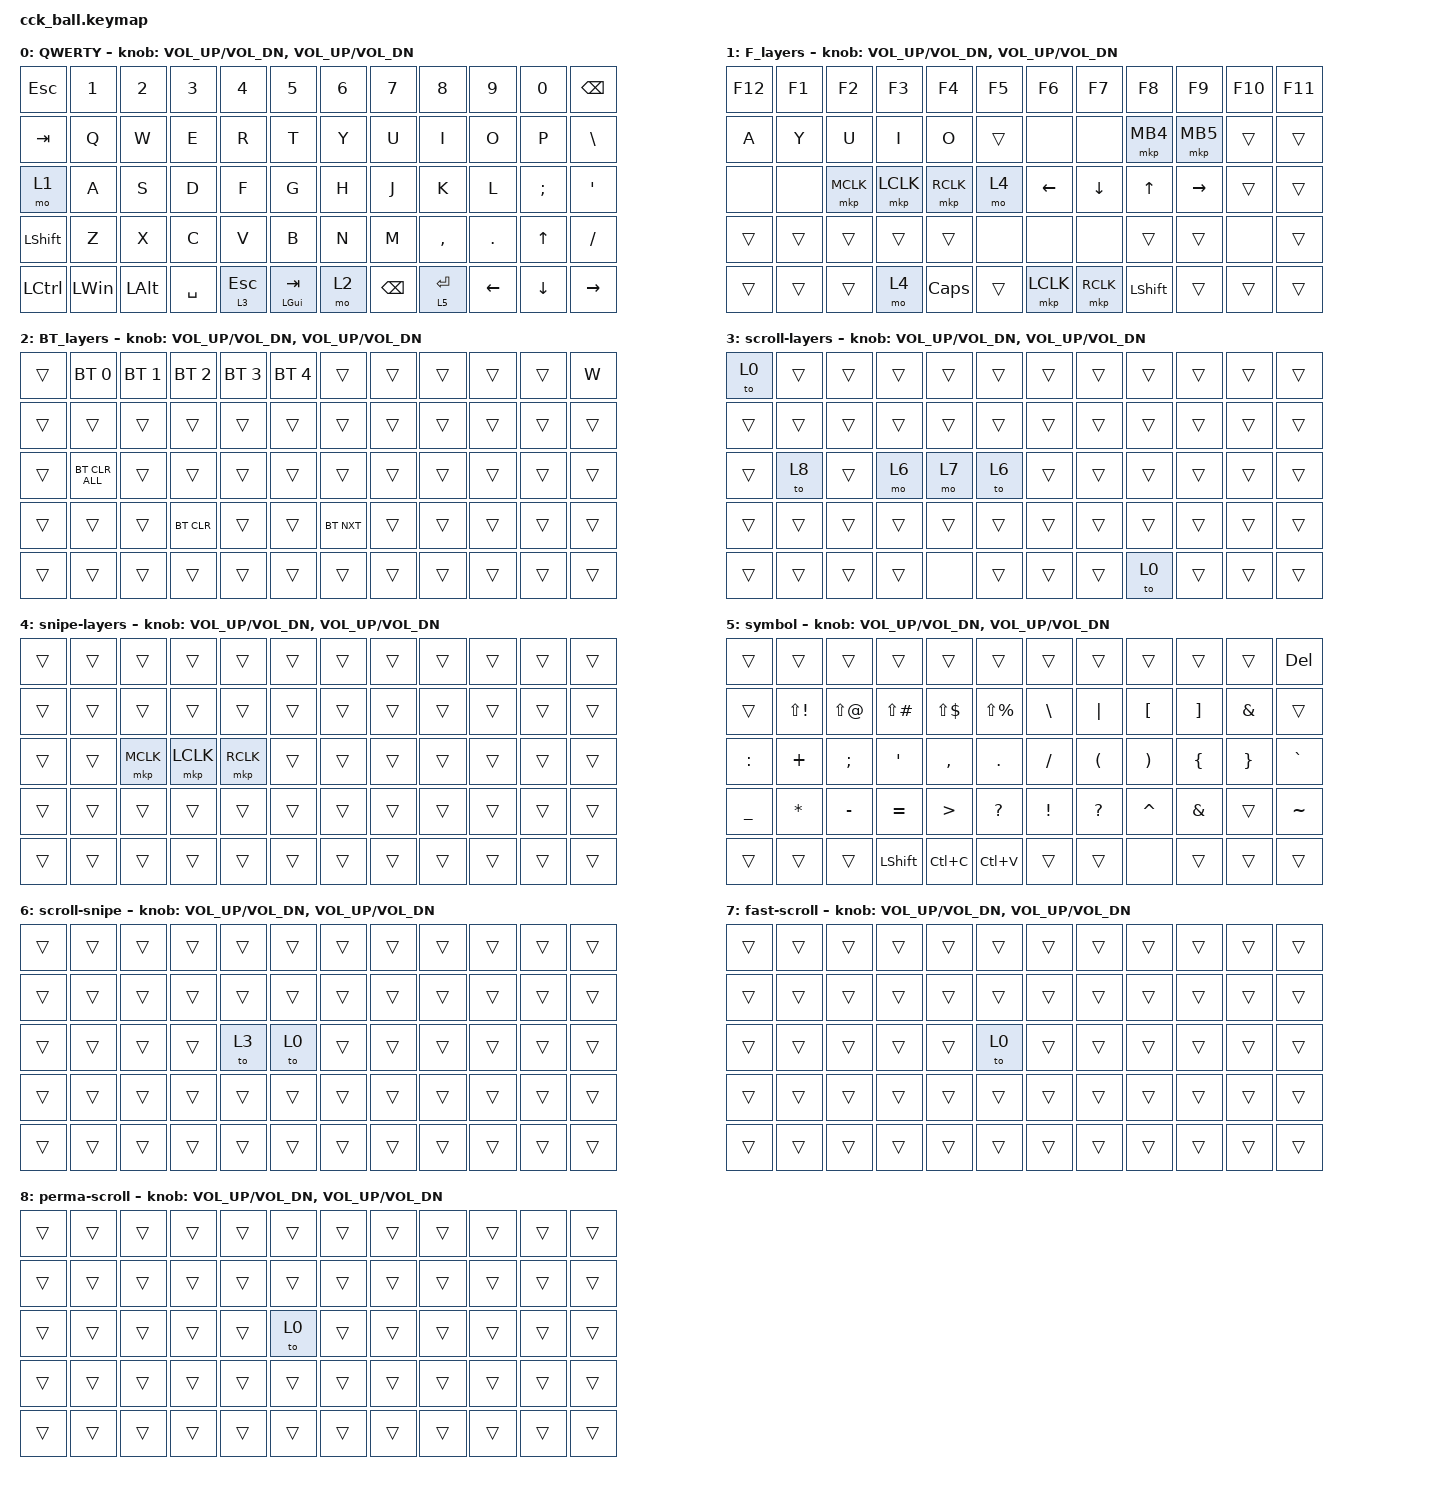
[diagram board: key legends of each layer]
#include <behaviors.dtsi>
#include <dt-bindings/zmk/bt.h>
#include <dt-bindings/zmk/keys.h>
#include <dt-bindings/zmk/pointing.h>

&lt {
    tapping-term-ms = <200>;//lt的延迟时间
    flavor = "balanced";
    quick-tap-ms = <150>;//按下lt后，150ms内按住不松开，就一直是单击的这个按键，而不是切层的效果。150ms以内的这个时间是关键
};

/ {
    combos {
        compatible = "zmk,combos";

        copy {
            bindings = <&kp LC(C)>;
            key-positions = <51 56>;
        };

        paste {
            bindings = <&kp LC(V)>;
            key-positions = <52 55>;
        };
    };

    keymap {
        compatible = "zmk,keymap";

        QWERTY {
            bindings = <
&kp ESC           &kp N1        &kp N2        &kp N3     &kp N4     &kp N5            &kp N6  &kp N7         &kp N8        &kp N9          &kp N0          &kp BACKSPACE
&kp TAB           &kp Q         &kp W         &kp E      &kp R      &kp T             &kp Y   &kp U          &kp I         &kp O           &kp P           &kp BSLH
&mo 1             &kp A         &kp S         &kp D      &kp F      &kp G             &kp H   &kp J          &kp K         &kp L           &kp SEMI        &kp SQT
&kp LEFT_SHIFT    &kp Z         &kp X         &kp C      &kp V      &kp B             &kp N   &kp M          &kp COMMA     &kp DOT         &kp UP_ARROW    &kp FSLH
&kp LEFT_CONTROL  &kp LEFT_WIN  &kp LEFT_ALT  &kp SPACE  &lt 3 ESC  &mt LEFT_GUI TAB  &mo 2   &kp BACKSPACE  &lt 5 RETURN  &kp LEFT_ARROW  &kp DOWN_ARROW  &kp RIGHT_ARROW
            >;

            sensor-bindings = <&inc_dec_kp C_VOL_UP C_VOL_DN &inc_dec_kp C_VOL_UP C_VOL_DN>;
        };

        F_layers {
            bindings = <
&kp F12  &kp F1  &kp F2     &kp F3     &kp F4     &kp F5  &kp F6          &kp F7          &kp F8          &kp F9           &kp F10  &kp F11
&kp A    &kp Y   &kp U      &kp I      &kp O      &trans  &none           &none           &mkp MB4        &mkp MB5         &trans   &trans
&none    &none   &mkp MCLK  &mkp LCLK  &mkp RCLK  &mo 4   &kp LEFT_ARROW  &kp DOWN_ARROW  &kp UP_ARROW    &kp RIGHT_ARROW  &trans   &trans
&trans   &trans  &trans     &trans     &trans     &none   &none           &none           &trans          &trans           &none    &trans
&trans   &trans  &trans     &mo 4      &kp CAPS   &trans  &mkp LCLK       &mkp RCLK       &kp LEFT_SHIFT  &trans           &trans   &trans
            >;

            sensor-bindings = <&inc_dec_kp C_VOL_UP C_VOL_DN &inc_dec_kp C_VOL_UP C_VOL_DN>;
        };

        BT_layers {
            bindings = <
&trans  &bt BT_SEL 0    &bt BT_SEL 1  &bt BT_SEL 2  &bt BT_SEL 3  &bt BT_SEL 4  &trans      &trans  &trans  &trans  &trans  &kp W
&trans  &trans          &trans        &trans        &trans        &trans        &trans      &trans  &trans  &trans  &trans  &trans
&trans  &bt BT_CLR_ALL  &trans        &trans        &trans        &trans        &trans      &trans  &trans  &trans  &trans  &trans
&trans  &trans          &trans        &bt BT_CLR    &trans        &trans        &bt BT_NXT  &trans  &trans  &trans  &trans  &trans
&trans  &trans          &trans        &trans        &trans        &trans        &trans      &trans  &trans  &trans  &trans  &trans
            >;

            sensor-bindings = <&inc_dec_kp C_VOL_UP C_VOL_DN &inc_dec_kp C_VOL_UP C_VOL_DN>;
        };

        scroll-layers {
            bindings = <
&to 0   &trans  &trans  &trans  &trans  &trans  &trans  &trans  &trans  &trans  &trans  &trans
&trans  &trans  &trans  &trans  &trans  &trans  &trans  &trans  &trans  &trans  &trans  &trans
&trans  &to 8   &trans  &mo 6   &mo 7   &to 6   &trans  &trans  &trans  &trans  &trans  &trans
&trans  &trans  &trans  &trans  &trans  &trans  &trans  &trans  &trans  &trans  &trans  &trans
&trans  &trans  &trans  &trans  &none   &trans  &trans  &trans  &to 0   &trans  &trans  &trans
            >;

            sensor-bindings = <&inc_dec_kp C_VOL_UP C_VOL_DN &inc_dec_kp C_VOL_UP C_VOL_DN>;
        };

        snipe-layers {
            bindings = <
&trans  &trans  &trans     &trans     &trans     &trans  &trans  &trans  &trans  &trans  &trans  &trans
&trans  &trans  &trans     &trans     &trans     &trans  &trans  &trans  &trans  &trans  &trans  &trans
&trans  &trans  &mkp MCLK  &mkp LCLK  &mkp RCLK  &trans  &trans  &trans  &trans  &trans  &trans  &trans
&trans  &trans  &trans     &trans     &trans     &trans  &trans  &trans  &trans  &trans  &trans  &trans
&trans  &trans  &trans     &trans     &trans     &trans  &trans  &trans  &trans  &trans  &trans  &trans
            >;

            sensor-bindings = <&inc_dec_kp C_VOL_UP C_VOL_DN &inc_dec_kp C_VOL_UP C_VOL_DN>;
        };

        symbol {
            bindings = <
&trans          &trans        &trans         &trans          &trans            &trans         &trans           &trans                &trans                 &trans             &trans           &kp DELETE
&trans          &kp LS(EXCL)  &kp LS(AT)     &kp LS(POUND)   &kp LS(DLLR)      &kp LS(PRCNT)  &kp BACKSLASH    &kp PIPE              &kp LEFT_BRACKET       &kp RIGHT_BRACKET  &kp AMPERSAND    &trans
&kp COLON       &kp PLUS      &kp SEMICOLON  &kp SQT         &kp COMMA         &kp DOT        &kp SLASH        &kp LEFT_PARENTHESIS  &kp RIGHT_PARENTHESIS  &kp LEFT_BRACE     &kp RIGHT_BRACE  &kp GRAVE
&kp UNDERSCORE  &kp ASTERISK  &kp MINUS      &kp EQUAL       &kp GREATER_THAN  &kp QUESTION   &kp EXCLAMATION  &kp QUESTION          &kp CARET              &kp AMPERSAND      &trans           &kp TILDE
&trans          &trans        &trans         &kp LEFT_SHIFT  &kp LC(C)         &kp LC(V)      &trans           &trans                &none                  &trans             &trans           &trans
            >;

            sensor-bindings = <&inc_dec_kp C_VOL_UP C_VOL_DN &inc_dec_kp C_VOL_UP C_VOL_DN>;
        };

        scroll-snipe {
            bindings = <
&trans  &trans  &trans  &trans  &trans  &trans  &trans  &trans  &trans  &trans  &trans  &trans
&trans  &trans  &trans  &trans  &trans  &trans  &trans  &trans  &trans  &trans  &trans  &trans
&trans  &trans  &trans  &trans  &to 3   &to 0   &trans  &trans  &trans  &trans  &trans  &trans
&trans  &trans  &trans  &trans  &trans  &trans  &trans  &trans  &trans  &trans  &trans  &trans
&trans  &trans  &trans  &trans  &trans  &trans  &trans  &trans  &trans  &trans  &trans  &trans
            >;

            sensor-bindings = <&inc_dec_kp C_VOL_UP C_VOL_DN &inc_dec_kp C_VOL_UP C_VOL_DN>;
        };

        fast-scroll {
            bindings = <
&trans  &trans  &trans  &trans  &trans  &trans  &trans  &trans  &trans  &trans  &trans  &trans
&trans  &trans  &trans  &trans  &trans  &trans  &trans  &trans  &trans  &trans  &trans  &trans
&trans  &trans  &trans  &trans  &trans  &to 0   &trans  &trans  &trans  &trans  &trans  &trans
&trans  &trans  &trans  &trans  &trans  &trans  &trans  &trans  &trans  &trans  &trans  &trans
&trans  &trans  &trans  &trans  &trans  &trans  &trans  &trans  &trans  &trans  &trans  &trans
            >;

            sensor-bindings = <&inc_dec_kp C_VOL_UP C_VOL_DN &inc_dec_kp C_VOL_UP C_VOL_DN>;
        };

        perma-scroll {
            bindings = <
&trans  &trans  &trans  &trans  &trans  &trans  &trans  &trans  &trans  &trans  &trans  &trans
&trans  &trans  &trans  &trans  &trans  &trans  &trans  &trans  &trans  &trans  &trans  &trans
&trans  &trans  &trans  &trans  &trans  &to 0   &trans  &trans  &trans  &trans  &trans  &trans
&trans  &trans  &trans  &trans  &trans  &trans  &trans  &trans  &trans  &trans  &trans  &trans
&trans  &trans  &trans  &trans  &trans  &trans  &trans  &trans  &trans  &trans  &trans  &trans
            >;

            sensor-bindings = <&inc_dec_kp C_VOL_UP C_VOL_DN &inc_dec_kp C_VOL_UP C_VOL_DN>;
        };
    };
};
